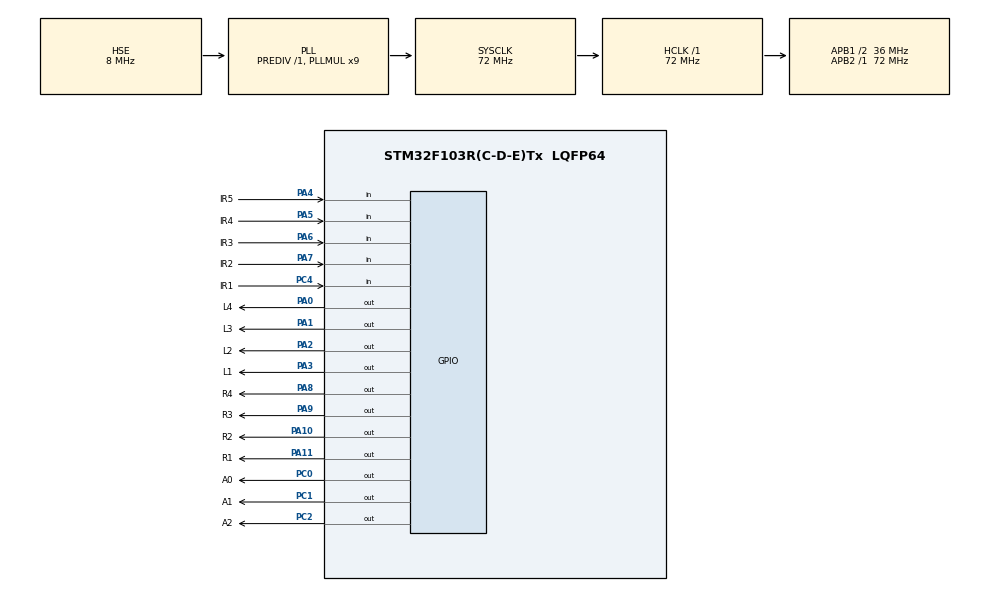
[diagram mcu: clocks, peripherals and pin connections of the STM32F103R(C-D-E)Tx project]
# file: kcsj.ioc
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Mcu.Family=STM32F1
Mcu.Name=STM32F103R(C-D-E)Tx
Mcu.Package=LQFP64
NVIC.PriorityGroup=NVIC_PRIORITYGROUP_4
NVIC.TIM6_IRQn=true\:0\:0\:false\:false\:true\:true\:true
PA0-WKUP.GPIO_Label=L4
PA0-WKUP.Signal=GPIO_Output
PA1.GPIO_Label=L3
PA1.Signal=GPIO_Output
PA10.GPIO_Label=R2
PA10.Signal=GPIO_Output
PA11.GPIO_Label=R1
PA11.Signal=GPIO_Output
PA13.Mode=Serial_Wire
PA13.Signal=SYS_JTMS-SWDIO
PA14.Mode=Serial_Wire
PA14.Signal=SYS_JTCK-SWCLK
PA2.GPIO_Label=L2
PA2.Signal=GPIO_Output
PA3.GPIO_Label=L1
PA3.Signal=GPIO_Output
PA4.GPIO_Label=IR5
PA4.Signal=GPIO_Input
PA5.GPIO_Label=IR4
PA5.Signal=GPIO_Input
PA6.GPIO_Label=IR3
PA6.Signal=GPIO_Input
PA7.GPIO_Label=IR2
PA7.Signal=GPIO_Input
PA8.GPIO_Label=R4
PA8.Signal=GPIO_Output
PA9.GPIO_Label=R3
PA9.Signal=GPIO_Output
PC0.GPIO_Label=A0
PC0.Signal=GPIO_Output
PC1.GPIO_Label=A1
PC1.Signal=GPIO_Output
PC2.GPIO_Label=A2
PC2.Signal=GPIO_Output
PC4.GPIO_Label=IR1
PC4.Signal=GPIO_Input
PD0-OSC_IN.Mode=HSE-External-Oscillator
PD0-OSC_IN.Signal=RCC_OSC_IN
PD1-OSC_OUT.Mode=HSE-External-Oscillator
PD1-OSC_OUT.Signal=RCC_OSC_OUT
ProjectManager.HeapSize=0x200
ProjectManager.StackSize=0x400
ProjectManager.TargetToolchain=MDK-ARM V5.27
RCC.AHBFreq_Value=72000000
RCC.APB1CLKDivider=RCC_HCLK_DIV2
RCC.APB1Freq_Value=36000000
RCC.APB1TimFreq_Value=72000000
RCC.APB2Freq_Value=72000000
RCC.APB2TimFreq_Value=72000000
RCC.HCLKFreq_Value=72000000
RCC.PLLMUL=RCC_PLL_MUL9
RCC.PLLSourceVirtual=RCC_PLLSOURCE_HSE
RCC.SYSCLKFreq_VALUE=72000000
RCC.SYSCLKSource=RCC_SYSCLKSOURCE_PLLCLK
RCC.USBFreq_Value=72000000
TIM6.Period=1000-1
TIM6.Prescaler=7200-1
VP_TIM6_VS_ClockSourceINT.Mode=Enable_Timer
board=custom

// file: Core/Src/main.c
/* USER CODE BEGIN Header */
/**
  ******************************************************************************
  * @file           : main.c
  * @brief          : Main program body
  ******************************************************************************
  * @attention
  *
  * <h2><center>&copy; Copyright (c) 2021 STMicroelectronics.
  * All rights reserved.</center></h2>
  *
  * This software component is licensed by ST under BSD 3-Clause license,
  * the "License"; You may not use this file except in compliance with the
  * License. You may obtain a copy of the License at:
  *                        opensource.org/licenses/BSD-3-Clause
  *
  ******************************************************************************
  */
/* USER CODE END Header */
#include "main.h"
#include "tim.h"
#include "gpio.h"

void SystemClock_Config(void);

/* USER CODE BEGIN 0 */
//基础驱动部分

//红外传感器组驱动程序
uchar irT1=0, irT2=0, irT3=0, irT4=0, irT5=0; //五个方向的ir标记

//打开某个ir发射
void ir_on(uchar num){
    num -= 1;
    if(num&0x01){
        HAL_GPIO_WritePin(A0_GPIO_Port, A0_Pin, GPIO_PIN_SET);
    }else{
        HAL_GPIO_WritePin(A0_GPIO_Port, A0_Pin, GPIO_PIN_RESET);
    }
    if(num&0x02){
        HAL_GPIO_WritePin(A1_GPIO_Port, A1_Pin, GPIO_PIN_SET);
    }else{
        HAL_GPIO_WritePin(A1_GPIO_Port, A1_Pin, GPIO_PIN_RESET);
    }
    if(num&0x04){
        HAL_GPIO_WritePin(A2_GPIO_Port, A2_Pin, GPIO_PIN_SET);
    }else{
        HAL_GPIO_WritePin(A2_GPIO_Port, A2_Pin, GPIO_PIN_RESET);
    }
}

//读取红外标志位
uchar get_ir(uchar num){
    if(num==1)
        return irT1;
    else if(num==2)
        return irT2;
    else if(num==3)
        return irT3;
    else if(num==4)
        return irT4;
    else if(num==5)
        return irT5;
    else
			return 0;
}

//读取相对方向的红外数值
uchar read_ir(uchar xd){
    if(xd == 0)
        return get_ir(3);  // 前红外
    if(xd == 1)
        return get_ir(5);  // 右红外
    if(xd == 3)
        return get_ir(1);  // 左红外
    return 0;
}

//步进电机驱动程序
static uint step = 0;
uchar left[]={0x11,0x33,0x22,0x66,0x44,0xcc,0x88,0x99};//左转
uchar right[]={0x11,0x99,0x88,0xcc,0x44,0x66,0x22,0x33};//右转
uchar forward[]={0x11,0x93,0x82,0xc6,0x44,0x6c,0x28,0x39};//直行

void run(uchar temp){
    if(temp&0x01)
        HAL_GPIO_WritePin(L4_GPIO_Port, L4_Pin, GPIO_PIN_SET);
    else
        HAL_GPIO_WritePin(L4_GPIO_Port, L4_Pin, GPIO_PIN_RESET);
    if(temp&0x02)
        HAL_GPIO_WritePin(L3_GPIO_Port, L3_Pin, GPIO_PIN_SET);
    else
        HAL_GPIO_WritePin(L3_GPIO_Port, L3_Pin, GPIO_PIN_RESET);
    if(temp&0x04)
        HAL_GPIO_WritePin(L2_GPIO_Port, L2_Pin, GPIO_PIN_SET);
    else
        HAL_GPIO_WritePin(L2_GPIO_Port, L2_Pin, GPIO_PIN_RESET);
    if(temp&0x08)
        HAL_GPIO_WritePin(L1_GPIO_Port, L1_Pin, GPIO_PIN_SET);
    else
        HAL_GPIO_WritePin(L1_GPIO_Port, L1_Pin, GPIO_PIN_RESET);

    if(temp&0x10)
        HAL_GPIO_WritePin(R4_GPIO_Port, R4_Pin, GPIO_PIN_SET);
    else
        HAL_GPIO_WritePin(R4_GPIO_Port, R4_Pin, GPIO_PIN_RESET);
    if(temp&0x20)
        HAL_GPIO_WritePin(R3_GPIO_Port, R3_Pin, GPIO_PIN_SET);
    else
        HAL_GPIO_WritePin(R3_GPIO_Port, R3_Pin, GPIO_PIN_RESET);
    if(temp&0x40)
        HAL_GPIO_WritePin(R2_GPIO_Port, R2_Pin, GPIO_PIN_SET);
    else
        HAL_GPIO_WritePin(R2_GPIO_Port, R2_Pin, GPIO_PIN_RESET);
    if(temp&0x80)
        HAL_GPIO_WritePin(R1_GPIO_Port, R1_Pin, GPIO_PIN_SET);
    else
        HAL_GPIO_WritePin(R1_GPIO_Port, R1_Pin, GPIO_PIN_RESET);
}

// 延时函数
void delay(uint z){
    if(z>10)
        run(0);
    HAL_Delay(z);
}

//路线修正
uchar xz(uchar i){
    step = 0;
    while((get_ir(2)||get_ir(4)) && !get_ir(3)){
        if(get_ir(2))
            run(left[i++] | 0xf0);
        else if(get_ir(4))
            run(right[i++] | 0x0f);
        if(i==8)
            i=0;
        step++;
        delay(3);
    }
    return i;
}

//前进
void qianjin(uchar xd){
    uchar num;
    uchar i, j;
    if(xd == 0)
        num = 102;
    if(xd == 1||xd == 3)
        num = 40;
    if(xd == 2)
        num = 81;
    for(j=0;j<num;j++){
        for(i=0;i<8;i++){
            if(xd == 1||xd == 2)
                run(left[i]);
            if(xd == 3)
                run(right[i]);
            if(xd == 0){
                run(forward[i]);
                i = xz(i);
            }
            if(xd==0)
                num -= step/16;
            delay(1);
        }
    }
}

uchar jd_xd(uchar jd_now, uchar jd_now_t){  // 绝对方向->相对方向
    //jd_now：当前绝对方向
    //jd_now_t：转换后绝对方向
    uchar xd = 0;
    xd = (jd_now_t - jd_now) % 4;
    if(xd >= 126)
        xd += 4;
    //返回相对方向
    return xd;
}

//算法部分
void init_map(uchar map[SIZE][SIZE]){  // 初始化迷宫数组
    uchar i, j;
    for(i=0;i<SIZE;i++){
        for(j=0;j<SIZE;j++){
            map[i][j] = 0xff;
        }
    }
}

uchar pd_new(uchar maze[SIZE][SIZE], zb now, uchar jd_now){  // 判断此方向是否为新的
    if(jd_now==0){
        if(now.x == 0){
            return 0;
        }else{
            return (maze[now.x-1][now.y]>>4)==0x0f;
        }
    }
    if(jd_now==1){
        if(now.y == 7){
            return 0;
        }else{
            return (maze[now.x][now.y+1]>>4)==0x0f;
        }
    }
    if(jd_now==2){
        if(now.x == 7){
            return 0;
        }else{
            return (maze[now.x+1][now.y]>>4)==0x0f;
        }
    }
    if(jd_now==3){
        if(now.y == 0){
            return 0;
        }else{
            return (maze[now.x][now.y-1]>>4)==0x0f;
        }
    }
    return 0;
}

void jilu(uchar maze[SIZE][SIZE], zb now, uchar jd_now){ // 记录信息
    if(maze[now.x][now.y] == 0xff){  //写入坐标
        uchar val_wall = 0xf0;
        uchar k = 0;
        uchar i;
        for(i=0; i<4; i++){  //判断4个绝对方向
            k = read_ir(jd_xd(jd_now, i));
            val_wall |= (k<<i);
        }
        maze[now.x][now.y] &= val_wall;  //挡板信息记录在低四位
        maze[now.x][now.y] &= ((jd_now<<4)|0x0f);  //方向记录在高四位
    }
}

uchar pd_way(uchar maze[SIZE][SIZE], zb now, uchar jd_now){ //判断是否为可行路段
    return !((maze[now.x][now.y]>>jd_now)&0x01);
}

uchar find_fx(uchar maze[SIZE][SIZE], zb now, uchar flag){ //选择方向
    uchar i;
    uchar high = maze[now.x][now.y] >> 4;
    uchar j;
    if(!flag){//冲刺标记位
        for(i=0; i<4; i++){
            if(pd_way(maze, now, i)){
                if(pd_new(maze, now, i)){
                    return i;
                }
            }
        }
    }
    // 如果冲刺或四个方向不可走，直接读取高四位进行冲刺引导或回溯
    if(high<=1)
        j = high+2;
    if(high>=2)
        j = high-2;
    return j;
}

void next(zb *now, uchar *jd_now, uchar jd_now_t){
    uchar xd = jd_xd(*jd_now, jd_now_t);
    // 刷新当前坐标和当前绝对方向
    if(jd_now_t == 0)
        (now->x)--;
    if(jd_now_t == 1)
        (now->y)++;
    if(jd_now_t == 2)
        (now->x)++;
    if(jd_now_t == 3)
        (now->y)--;
    *jd_now = jd_now_t;
    // 执行
    qianjin(xd);
    if(xd != 0)
        qianjin(0);
}

uchar bfs(uchar maze[SIZE][SIZE],zb beg, zb end){ // 广度优先算法
		uchar i,j;
    uchar height[SIZE][SIZE] = {0xff};  //初始化等高表
		uchar queue_len = 1;//初始化队列长度标记量
    zb queue[15];//初始化队列
    zb head;//初始化队列
    zb linshi;//初始化一个临时变量
    zb now;//初始化当前位置

    init_map(height);
    height[beg.x][beg.y] = 0;
    queue[0].x = beg.x;
    queue[0].y = beg.y;
    while(queue_len>0){// 当队列不为空
        head = queue[0];// 队首元素出队
        queue_len--;
        for(j=0; j<queue_len; j++){//由于用数组模拟队列，所以需要将元素手动前移
            queue[j] = queue[j+1];
        }
        for(i=0; i<4; i++){//判断四个方向
            linshi = head;
            if(i == 0)
                linshi.x = head.x-1;
            if(i == 1)
                linshi.y = head.y+1;
            if(i == 2)
                linshi.x = head.x+1;
            if(i == 3)
                linshi.y = head.y-1;
            if(linshi.x>127||linshi.y>127)
                continue;
            if(pd_way(maze, head, i) && height[linshi.x][linshi.y]==255){  // 如果该坐标连通且第一次访问
                height[linshi.x][linshi.y] = height[head.x][head.y] + 1;  // 该坐标等高表+1
                queue[queue_len++] = linshi;  // 该坐标入队列
            }
        }
    }
    // 等高表建立完毕，开始反向查找最优路径
    now.x = end.x;
    now.y = end.y;
    while(!(now.x==0&& now.y==0)){ // 如果还没到起点
        for(i=0; i<4; i++){ // 扫描四个方向
            linshi = now;
            if(i == 0)
                linshi.x = now.x-1;
            if(i == 1)
                linshi.y = now.y+1;
            if(i == 2)
                linshi.x = now.x+1;
            if(i == 3)
                linshi.y = now.y-1;
            if(linshi.x>127||linshi.y>127)
                continue;
            if(pd_way(maze, now, i) && (height[linshi.x][linshi.y]==height[now.x][now.y]-1)){//如果该坐标连通且高度递减
                maze[linshi.x][linshi.y] |= 0xf0;
                maze[linshi.x][linshi.y] &= ((i<<4)|0x0f);
                now = linshi;
                break;
            }
        }
    }
    return 1;
}
/* USER CODE END 0 */

int main(void)
{

  /* MCU Configuration--------------------------------------------------------*/

  /* Reset of all peripherals, Initializes the Flash interface and the Systick. */
  HAL_Init();

  /* Configure the system clock */
  SystemClock_Config();

  /* Initialize all configured peripherals */
  MX_GPIO_Init();
  MX_TIM6_Init();
  /* USER CODE BEGIN 2 */
   HAL_TIM_Base_Start_IT(&htim6);

    uchar maze[SIZE][SIZE] = {0xff}; //迷宫数组
    uchar jd_now = 1;	//绝对方向
    uchar jd_now_t;
    uchar flag = 0;		//冲刺标记

    zb beg;	//起点
    zb now;
    zb end;	//终点

    beg.x = 0;
    beg.y = 0;
    now = beg;
    end.x = 7;
    end.y = 7;

    init_map(maze);
    delay(500);
  /* USER CODE END 2 */

  /* Infinite loop */
  while (1)
  {

    /* USER CODE BEGIN 3 */
    if(now.x==end.x&&now.y==end.y&&flag == 1){
            delay(500);
            break;
        }

        if(now.x==beg.x&&now.y==beg.y&&jd_now==3){
            delay(500);
          flag = bfs(maze, beg, end);
        }

        jilu(maze, now, jd_now);
        jd_now_t = find_fx(maze, now, flag);
        next(&now, &jd_now, jd_now_t);		        //执行
        delay(500);
  }
  /* USER CODE END 3 */
}

void SystemClock_Config(void)
{
  RCC_OscInitTypeDef RCC_OscInitStruct = {0};
  RCC_ClkInitTypeDef RCC_ClkInitStruct = {0};

  /** Initializes the RCC Oscillators according to the specified parameters
  * in the RCC_OscInitTypeDef structure.
  */
  RCC_OscInitStruct.OscillatorType = RCC_OSCILLATORTYPE_HSE;
  RCC_OscInitStruct.HSEState = RCC_HSE_ON;
  RCC_OscInitStruct.HSEPredivValue = RCC_HSE_PREDIV_DIV1;
  RCC_OscInitStruct.HSIState = RCC_HSI_ON;
  RCC_OscInitStruct.PLL.PLLState = RCC_PLL_ON;
  RCC_OscInitStruct.PLL.PLLSource = RCC_PLLSOURCE_HSE;
  RCC_OscInitStruct.PLL.PLLMUL = RCC_PLL_MUL9;
  if (HAL_RCC_OscConfig(&RCC_OscInitStruct) != HAL_OK)
  {
    Error_Handler();
  }
  /** Initializes the CPU, AHB and APB buses clocks
  */
  RCC_ClkInitStruct.ClockType = RCC_CLOCKTYPE_HCLK|RCC_CLOCKTYPE_SYSCLK
                              |RCC_CLOCKTYPE_PCLK1|RCC_CLOCKTYPE_PCLK2;
  RCC_ClkInitStruct.SYSCLKSource = RCC_SYSCLKSOURCE_PLLCLK;
  RCC_ClkInitStruct.AHBCLKDivider = RCC_SYSCLK_DIV1;
  RCC_ClkInitStruct.APB1CLKDivider = RCC_HCLK_DIV2;
  RCC_ClkInitStruct.APB2CLKDivider = RCC_HCLK_DIV1;

  if (HAL_RCC_ClockConfig(&RCC_ClkInitStruct, FLASH_LATENCY_2) != HAL_OK)
  {
    Error_Handler();
  }
}

/* USER CODE BEGIN 4 */
void HAL_TIM_PeriodElapsedCallback(TIM_HandleTypeDef *htim){
    if (htim->Instance == htim6.Instance){ //10ms
        static uint8_t Flag = 0;
        static uint8_t n = 1;
        if(!Flag){
            ir_on(n);
        }else{
            if(n == 5){
                if(HAL_GPIO_ReadPin(IR1_GPIO_Port, IR1_Pin))
                    irT1 = 0;
                else
                    irT1 = 1;
            }else if(n == 4){
                if(HAL_GPIO_ReadPin(IR2_GPIO_Port, IR2_Pin))
                    irT2 = 0;
                else
                    irT2 = 1;
            }else if(n == 3){
                if(HAL_GPIO_ReadPin(IR3_GPIO_Port, IR3_Pin))
                    irT3 = 0;
                else
                    irT3 = 1;
            }else if(n == 2){
                if(HAL_GPIO_ReadPin(IR4_GPIO_Port, IR4_Pin))
                    irT4 = 0;
                else
                    irT4 = 1;
            }else if(n == 1){
                if(HAL_GPIO_ReadPin(IR5_GPIO_Port, IR5_Pin))
                    irT5 = 0;
                else
                    irT5 = 1;
            }
        }
        if(Flag)
            n++;
        if(n > 5)
            n=0;
        Flag = !Flag;
    }
}
/* USER CODE END 4 */

void Error_Handler(void)
{
  __disable_irq();
  while (1)
  {
  }
}

/************************ (C) COPYRIGHT STMicroelectronics *****END OF FILE****/
